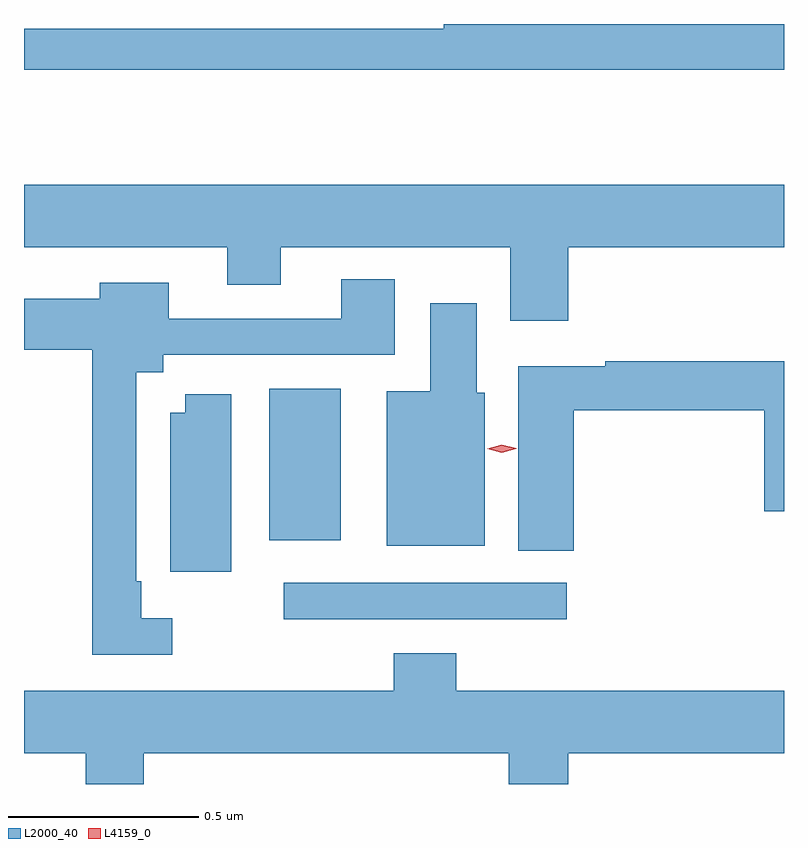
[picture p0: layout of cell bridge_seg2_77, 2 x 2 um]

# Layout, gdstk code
import gdstk
lib = gdstk.Library(unit=1e-6, precision=1e-09)
def R(c, l, rs):  # rectangles x0, y0, x1, y1
    for r in rs: c.add(gdstk.rectangle(r[:2], r[2:], *l))
def P(c, l, *ps):  # polygons
    for p in ps: c.add(gdstk.Polygon(p, *l))
L2000_40 = (2000, 40)
L4159_0 = (4159, 0)

bridge_seg2_77 = lib.new_cell('bridge_seg2_77')
R(bridge_seg2_77, L2000_40, [(365.199,651.984,365.944,652.08), (365.162,652.193,365.35,652.591)])
P(bridge_seg2_77, L2000_40, [(366.516,653.551),(365.62,653.551),(365.62,653.538),(364.516,653.538),(364.516,653.43),(366.516,653.43)],
  [(364.516,652.964),(365.051,652.964),(365.051,652.865),(365.191,652.865),(365.191,652.964),(365.795,652.964),(365.795,652.77),(365.948,652.77),(365.948,652.964),(366.516,652.964),(366.516,653.128),(364.516,653.128)],
  [(364.906,651.987),(364.824,651.987),(364.824,652.084),(364.812,652.084),(364.812,652.634),(364.882,652.634),(364.882,652.68),(365.491,652.68),(365.491,652.879),(365.351,652.879),(365.351,652.776),(364.897,652.776),(364.897,652.87),(364.715,652.87),(364.715,652.828),(364.516,652.828),(364.516,652.694),(364.696,652.694),(364.696,651.891),(364.906,651.891)],
  [(365.728,652.581),(365.707,652.581),(365.707,652.816),(365.585,652.816),(365.585,652.585),(365.471,652.585),(365.471,652.178),(365.728,652.178)],
  [(365.963,652.534),(366.464,652.534),(366.464,652.269),(366.516,652.269),(366.516,652.663),(366.046,652.663),(366.046,652.65),(365.816,652.65),(365.816,652.165),(365.963,652.165)],
  [(365.062,652.577),(364.94,652.577),(364.94,652.528),(364.901,652.528),(364.901,652.11),(365.062,652.11)],
  [(364.831,651.632),(365.791,651.632),(365.791,651.551),(365.948,651.551),(365.948,651.632),(366.516,651.632),(366.516,651.796),(365.654,651.796),(365.654,651.895),(365.489,651.895),(365.489,651.796),(364.516,651.796),(364.516,651.632),(364.679,651.632),(364.679,651.551),(364.831,651.551)])
P(bridge_seg2_77, L4159_0, [(365.773,652.423),(365.735,652.433),(365.735,652.433),(365.735,652.433),(365.773,652.444),(365.811,652.434),(365.811,652.434),(365.811,652.433)])

lib.write_gds('bridge_seg2_77.gds')
